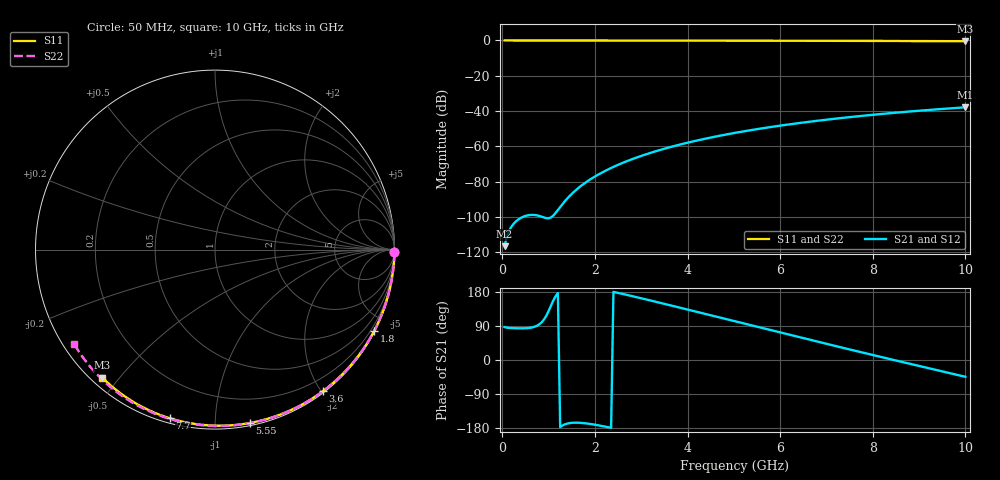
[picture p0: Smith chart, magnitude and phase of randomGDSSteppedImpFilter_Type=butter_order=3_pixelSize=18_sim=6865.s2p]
! freq	dB(S11)	phase(S11)	dB(S12)	phase(S12)
!  dB(S21)	phase(S21)	dB(S22)	phase(S22)
!S-par simulation data
#  GHz  S  DB  R 50
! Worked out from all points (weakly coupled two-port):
!   200 points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, 50 MHz to 10 GHz, reference 50 ohm
!   highest |S21| = -37.87 dB at 10 GHz (marker M1); lowest = -116.6 dB at 50 MHz (marker M2)
!   lowest |S11| = -0.4 dB at 10 GHz (marker M3), VSWR 39.13, Z = 1.54 - j22.6 ohm
!   |S11| at or under -10 dB: nowhere
!   |S22| runs from -0.5 to 0.0 dB; largest |S21 - S12| = 0
!   S11 on the Smith chart (normalised r, x): 50 MHz: open; 1.8 GHz: 0.04, -4.18; 3.6 GHz: 0.02, -2.02; 5.55 GHz: 0.02, -1.22; 7.7 GHz: 0.02, -0.77; 10 GHz: 0.03, -0.45
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0.05  -0.00 -0.8  -116.56 86.8  -116.56 86.8  -0.00 -0.9
0.45  -0.01 -6.8  -99.91 83.5  -99.91 83.5  -0.01 -7.6
0.9  -0.02 -13.6  -100.33 106.8  -100.33 106.8  -0.02 -15.2
1.3  -0.02 -19.5  -92.69 -172.9  -92.69 -172.9  -0.03 -21.9
1.75  -0.03 -26.2  -81.41 -166.5  -81.41 -166.5  -0.04 -29.3
1.8  -0.03 -26.9  -80.47 -167.2  -80.47 -167.2  -0.04 -30.1
1.85  -0.04 -27.7  -79.57 -167.9  -79.57 -167.9  -0.04 -30.9
2.05  -0.04 -30.6  -76.33 -171.8  -76.33 -171.8  -0.04 -34.2
2.2  -0.04 -32.8  -74.20 -175.3  -74.20 -175.3  -0.05 -36.6
2.55  -0.05 -37.8  -69.91 175.7  -69.91 175.7  -0.05 -42.2
2.95  -0.06 -43.5  -65.87 164.4  -65.87 164.4  -0.06 -48.6
3.4  -0.07 -49.9  -62.09 151.1  -62.09 151.1  -0.07 -55.6
3.6  -0.07 -52.6  -60.61 145.2  -60.61 145.2  -0.08 -58.7
4.3  -0.09 -62.2  -56.13 124.0  -56.13 124.0  -0.10 -69.2
5.05  -0.11 -72.2  -52.24 101.2  -52.24 101.2  -0.12 -80.2
5.55  -0.13 -78.6  -50.04 86.0  -50.04 86.0  -0.14 -87.4
6.1  -0.15 -85.6  -47.89 69.5  -47.89 69.5  -0.17 -95.0
6.7  -0.18 -93.0  -45.83 51.5  -45.83 51.5  -0.20 -103.2
7.7  -0.24 -105.0  -42.90 22.0  -42.90 22.0  -0.27 -116.5
8.35  -0.29 -112.6  -41.27 3.0  -41.27 3.0  -0.32 -124.9
9.2  -0.36 -122.3  -39.40 -21.5  -39.40 -21.5  -0.40 -135.8
10  -0.44 -131.3  -37.87 -44.4  -37.87 -44.4  -0.50 -146.1
